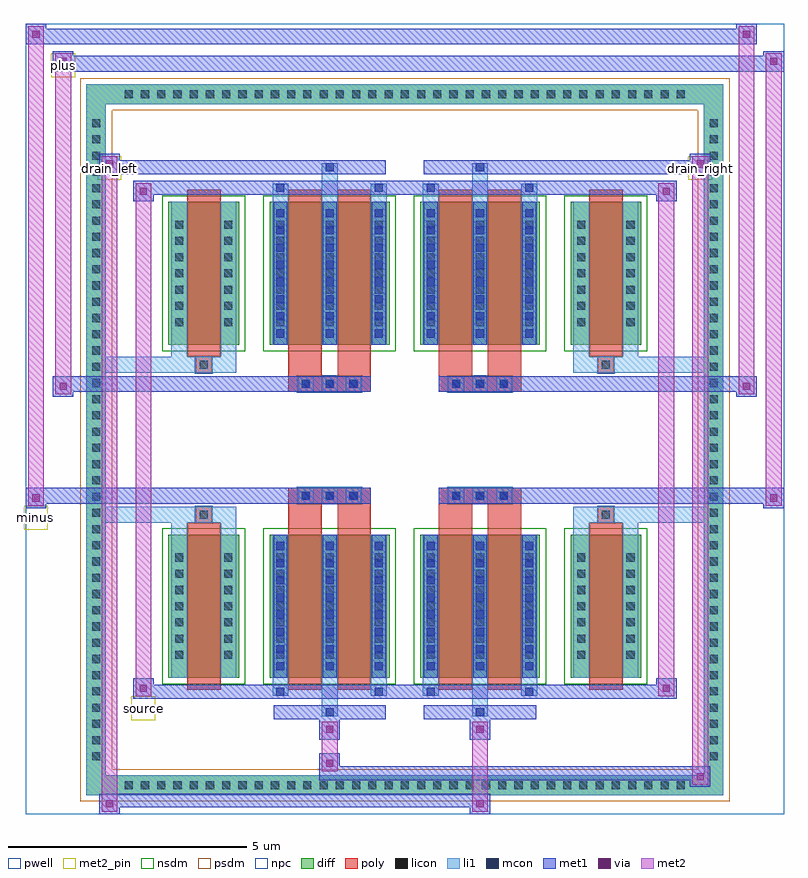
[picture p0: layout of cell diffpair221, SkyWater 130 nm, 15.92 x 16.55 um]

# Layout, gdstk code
import gdstk
lib = gdstk.Library(unit=1e-6, precision=5e-09)
def R(c, l, rs):  # rectangles x0, y0, x1, y1
    for r in rs: c.add(gdstk.rectangle(r[:2], r[2:], *l))
def A(c, l, x, y, w, h, nx, ny, dx, dy):  # array of equal rectangles
    R(c, l, [(x+i*dx, y+j*dy, x+i*dx+w, y+j*dy+h) for i in range(nx) for j in range(ny)])
def P(c, l, *ps):  # polygons
    for p in ps: c.add(gdstk.Polygon(p, *l))
pwell = (64, 44)
diff = (65, 20)
poly = (66, 20)
licon = (66, 44)
li1 = (67, 20)
mcon = (67, 44)
met1 = (68, 20)
via = (68, 44)
met2_pin = (69, 16)
met2 = (69, 20)
nsdm = (93, 44)
psdm = (94, 20)
npc = (95, 20)

diffpair221 = lib.new_cell('diffpair221')
R(diffpair221, pwell, [(-7.94,-7.84,7.94,8.71), (-5.26,-6.03,-0.01,-0.805), (0.01,-6.03,5.26,-0.805), (-5.26,0.805,-0.01,6.03), (0.01,0.805,5.26,6.03)])
A(diffpair221, diff, -5.985, -7.44, 0.41, 0.41, 35, 2, 0.34, 14.47)
A(diffpair221, diff, -6.67, -6.835, 0.41, 0.41, 1, 40, 0, 0.34)
A(diffpair221, diff, 6.26, -6.835, 0.41, 0.41, 1, 40, 0, 0.34)
R(diffpair221, diff, [(-5.985,-7.44,5.985,-7.03), (-6.67,-6.835,-6.26,6.835), (6.26,-6.835,6.67,6.835), (-4.95,-4.985,-3.47,-1.985), (-2.83,-4.985,-0.32,-1.985), (0.32,-4.985,2.83,-1.985), (3.47,-4.985,4.95,-1.985), (-4.95,1.985,-3.47,4.985), (-2.83,1.985,-0.32,4.985), (0.32,1.985,2.83,4.985), (3.47,1.985,4.95,4.985), (-5.985,7.03,5.985,7.44)])
P(diffpair221, diff, [(6.67,7.44),(-6.67,7.44),(-6.67,-7.03),(-6.26,-7.03),(-6.26,7.03),(6.26,7.03),(6.26,-7.03),(-6.26,-7.03),(-6.67,-7.03),(-6.67,-7.44),(6.67,-7.44)])
A(diffpair221, poly, -2.24, -1.335, 0.33, 0.33, 3, 2, 0.5, 2.34)
A(diffpair221, poly, 0.91, -1.335, 0.33, 0.33, 3, 2, 0.5, 2.34)
R(diffpair221, poly, [(-4.56,-5.235,-3.86,-1.735), (-2.44,-5.235,-1.74,-1.735), (-1.41,-5.235,-0.71,-1.735), (0.71,-5.235,1.41,-1.735), (1.74,-5.235,2.44,-1.735), (3.86,-5.235,4.56,-1.735), (-4.375,-1.735,-4.045,-1.405), (-4.375,-1.735,-4.045,-1.405), (-2.44,-1.735,-1.74,-1.335), (-1.41,-1.735,-0.71,-1.335), (0.71,-1.735,1.41,-1.335), (1.74,-1.735,2.44,-1.335), (4.045,-1.735,4.375,-1.405), (4.045,-1.735,4.375,-1.405), (-2.44,-1.335,-0.71,-1.005), (0.71,-1.335,2.44,-1.005), (-2.44,1.005,-0.71,1.335), (0.71,1.005,2.44,1.335), (-2.44,1.335,-1.74,1.735), (-1.41,1.335,-0.71,1.735), (0.71,1.335,1.41,1.735), (1.74,1.335,2.44,1.735), (-4.375,1.405,-4.045,1.735), (-4.375,1.405,-4.045,1.735), (4.045,1.405,4.375,1.735), (4.045,1.405,4.375,1.735), (-4.56,1.735,-3.86,5.235), (-2.44,1.735,-1.74,5.235), (-1.41,1.735,-0.71,5.235), (0.71,1.735,1.41,5.235), (1.74,1.735,2.44,5.235), (3.86,1.735,4.56,5.235)])
A(diffpair221, licon, -5.865, -7.32, 0.17, 0.17, 35, 2, 0.34, 14.47)
A(diffpair221, licon, -6.55, -6.715, 0.17, 0.17, 1, 40, 0, 0.34)
A(diffpair221, licon, 6.38, -6.715, 0.17, 0.17, 1, 40, 0, 0.34)
A(diffpair221, licon, -4.81, -4.59, 0.17, 0.17, 1, 7, 0, 0.34)
A(diffpair221, licon, -3.78, -4.59, 0.17, 0.17, 1, 7, 0, 0.34)
A(diffpair221, licon, -2.69, -4.59, 0.17, 0.17, 3, 7, 1.03, 0.34)
A(diffpair221, licon, 0.46, -4.59, 0.17, 0.17, 3, 7, 1.03, 0.34)
A(diffpair221, licon, 3.61, -4.59, 0.17, 0.17, 1, 7, 0, 0.34)
A(diffpair221, licon, 4.64, -4.59, 0.17, 0.17, 1, 7, 0, 0.34)
A(diffpair221, licon, -2.16, -1.255, 0.17, 0.17, 3, 2, 0.5, 2.34)
A(diffpair221, licon, 0.99, -1.255, 0.17, 0.17, 3, 2, 0.5, 2.34)
A(diffpair221, licon, -4.81, 2.38, 0.17, 0.17, 1, 7, 0, 0.34)
A(diffpair221, licon, -3.78, 2.38, 0.17, 0.17, 1, 7, 0, 0.34)
A(diffpair221, licon, -2.69, 2.38, 0.17, 0.17, 3, 7, 1.03, 0.34)
A(diffpair221, licon, 0.46, 2.38, 0.17, 0.17, 3, 7, 1.03, 0.34)
A(diffpair221, licon, 3.61, 2.38, 0.17, 0.17, 1, 7, 0, 0.34)
A(diffpair221, licon, 4.64, 2.38, 0.17, 0.17, 1, 7, 0, 0.34)
R(diffpair221, licon, [(-4.295,-1.655,-4.125,-1.485), (4.125,-1.655,4.295,-1.485), (-4.295,1.485,-4.125,1.655), (4.125,1.485,4.295,1.655)])
A(diffpair221, li1, -5.945, -7.4, 0.33, 0.33, 35, 2, 0.34, 14.47)
A(diffpair221, li1, -6.63, -6.795, 0.33, 0.33, 1, 40, 0, 0.34)
A(diffpair221, li1, 6.3, -6.795, 0.33, 0.33, 1, 40, 0, 0.34)
A(diffpair221, li1, -2.77, -4.985, 0.33, 3, 3, 2, 1.03, 6.97)
A(diffpair221, li1, 0.38, -4.985, 0.33, 3, 3, 2, 1.03, 6.97)
A(diffpair221, li1, -2.69, -4.83, 0.17, 0.17, 3, 8, 1.03, 0.36)
A(diffpair221, li1, -2.69, -4.83, 0.17, 2.69, 3, 2, 1.03, 6.97)
A(diffpair221, li1, 0.46, -4.83, 0.17, 0.17, 3, 8, 1.03, 0.36)
A(diffpair221, li1, 0.46, -4.83, 0.17, 2.69, 3, 2, 1.03, 6.97)
A(diffpair221, li1, -4.89, -4.67, 0.33, 0.33, 1, 7, 0, 0.34)
A(diffpair221, li1, -3.86, -4.67, 0.33, 0.33, 1, 7, 0, 0.34)
A(diffpair221, li1, -2.77, -4.67, 0.33, 0.33, 3, 7, 1.03, 0.34)
A(diffpair221, li1, 0.38, -4.67, 0.33, 0.33, 3, 7, 1.03, 0.34)
A(diffpair221, li1, 3.53, -4.67, 0.33, 0.33, 1, 7, 0, 0.34)
A(diffpair221, li1, 4.56, -4.67, 0.33, 0.33, 1, 7, 0, 0.34)
A(diffpair221, li1, -2.24, -1.335, 0.33, 0.33, 3, 2, 0.5, 2.34)
A(diffpair221, li1, 0.91, -1.335, 0.33, 0.33, 3, 2, 0.5, 2.34)
A(diffpair221, li1, -2.69, 2.14, 0.17, 0.17, 3, 8, 1.03, 0.36)
A(diffpair221, li1, 0.46, 2.14, 0.17, 0.17, 3, 8, 1.03, 0.36)
A(diffpair221, li1, -4.89, 2.3, 0.33, 0.33, 1, 7, 0, 0.34)
A(diffpair221, li1, -3.86, 2.3, 0.33, 0.33, 1, 7, 0, 0.34)
A(diffpair221, li1, -2.77, 2.3, 0.33, 0.33, 3, 7, 1.03, 0.34)
A(diffpair221, li1, 0.38, 2.3, 0.33, 0.33, 3, 7, 1.03, 0.34)
A(diffpair221, li1, 3.53, 2.3, 0.33, 0.33, 1, 7, 0, 0.34)
A(diffpair221, li1, 4.56, 2.3, 0.33, 0.33, 1, 7, 0, 0.34)
R(diffpair221, li1, [(-6.67,-7.44,-6.26,-7.03), (-6.67,-7.44,-6.26,-7.03), (-6.26,-7.44,6.26,-7.03), (6.26,-7.44,6.67,-7.03), (6.26,-7.44,6.67,-7.03), (-6.67,-7.03,-6.26,7.03), (6.26,-7.03,6.67,7.03), (-1.74,-5.79,-1.41,-4.985), (-1.66,-5.79,-1.49,-5.62), (1.41,-5.79,1.74,-4.985), (1.49,-5.79,1.66,-5.62), (-2.77,-5.36,-2.44,-4.985), (-2.69,-5.36,-2.52,-5.19), (-0.71,-5.36,-0.38,-4.985), (-0.63,-5.36,-0.46,-5.19), (0.38,-5.36,0.71,-4.985), (0.46,-5.36,0.63,-5.19), (2.44,-5.36,2.77,-4.985), (2.52,-5.36,2.69,-5.19), (-4.89,-4.985,-4.56,-1.985), (-3.86,-4.985,-3.53,-1.985), (3.53,-4.985,3.86,-1.985), (4.56,-4.985,4.89,-1.985), (-4.89,-1.985,-4.56,-1.405), (-3.86,-1.985,-3.53,-1.405), (3.53,-1.985,3.86,-1.405), (4.56,-1.985,4.89,-1.405), (-6.67,-1.735,-4.375,-1.405), (-4.89,-1.735,-4.375,-1.405), (-4.375,-1.735,-4.045,-1.405), (-4.045,-1.735,-3.53,-1.405), (3.53,-1.735,4.045,-1.405), (4.045,-1.735,4.375,-1.405), (4.045,-1.735,6.67,-1.405), (4.375,-1.735,4.89,-1.405), (-6.67,1.405,-4.375,1.735), (-4.89,1.405,-4.375,1.735), (-4.89,1.405,-4.56,1.985), (-4.375,1.405,-4.045,1.735), (-4.045,1.405,-3.53,1.735), (-3.86,1.405,-3.53,1.985), (3.53,1.405,4.045,1.735), (3.53,1.405,3.86,1.985), (4.045,1.405,4.375,1.735), (4.045,1.405,6.67,1.735), (4.375,1.405,4.89,1.735), (4.56,1.405,4.89,1.985), (-4.89,1.985,-4.56,4.985), (-3.86,1.985,-3.53,4.985), (3.53,1.985,3.86,4.985), (4.56,1.985,4.89,4.985), (-2.77,4.985,-2.44,5.36), (-1.74,4.985,-1.41,5.79), (-0.71,4.985,-0.38,5.36), (0.38,4.985,0.71,5.36), (1.41,4.985,1.74,5.79), (2.44,4.985,2.77,5.36), (-2.69,5.19,-2.52,5.36), (-0.63,5.19,-0.46,5.36), (0.46,5.19,0.63,5.36), (2.52,5.19,2.69,5.36), (-1.66,5.62,-1.49,5.79), (1.49,5.62,1.66,5.79), (-6.67,7.03,-6.26,7.44), (-6.67,7.03,-6.26,7.44), (-6.26,7.03,6.26,7.44), (6.26,7.03,6.67,7.44), (6.26,7.03,6.67,7.44)])
A(diffpair221, mcon, -2.69, -4.83, 0.17, 0.17, 3, 8, 1.03, 0.36)
A(diffpair221, mcon, 0.46, -4.83, 0.17, 0.17, 3, 8, 1.03, 0.36)
A(diffpair221, mcon, -2.16, -1.255, 0.17, 0.17, 3, 2, 0.5, 2.34)
A(diffpair221, mcon, 0.99, -1.255, 0.17, 0.17, 3, 2, 0.5, 2.34)
A(diffpair221, mcon, -2.69, 2.14, 0.17, 0.17, 3, 8, 1.03, 0.36)
A(diffpair221, mcon, 0.46, 2.14, 0.17, 0.17, 3, 8, 1.03, 0.36)
R(diffpair221, mcon, [(-1.66,-5.79,-1.49,-5.62), (1.49,-5.79,1.66,-5.62), (-2.69,-5.36,-2.52,-5.19), (-0.63,-5.36,-0.46,-5.19), (0.46,-5.36,0.63,-5.19), (2.52,-5.36,2.69,-5.19), (-2.69,5.19,-2.52,5.36), (-0.63,5.19,-0.46,5.36), (0.46,5.19,0.63,5.36), (2.52,5.19,2.69,5.36), (-1.66,5.62,-1.49,5.79), (1.49,5.62,1.66,5.79)])
A(diffpair221, met1, -2.75, -4.985, 0.29, 3, 3, 2, 1.03, 6.97)
A(diffpair221, met1, 0.4, -4.985, 0.29, 3, 3, 2, 1.03, 6.97)
A(diffpair221, met1, -2.75, -4.89, 0.29, 0.29, 3, 8, 1.03, 0.36)
A(diffpair221, met1, 0.4, -4.89, 0.29, 0.29, 3, 8, 1.03, 0.36)
A(diffpair221, met1, -2.22, -1.315, 0.29, 0.29, 3, 2, 0.5, 2.34)
A(diffpair221, met1, 0.93, -1.315, 0.29, 0.29, 3, 2, 0.5, 2.34)
A(diffpair221, met1, -2.75, 2.08, 0.29, 0.29, 3, 8, 1.03, 0.36)
A(diffpair221, met1, 0.4, 2.08, 0.29, 0.29, 3, 8, 1.03, 0.36)
R(diffpair221, met1, [(-6.4,-7.84,-5.97,-7.41), (1.36,-7.84,1.79,-7.41), (-6.4,-7.7,1.79,-7.41), (5.97,-7.27,6.4,-6.84), (-1.79,-7.13,6.4,-6.84), (-1.79,-6.99,-1.36,-6.56), (-1.79,-6.28,-1.36,-5.85), (1.36,-6.28,1.79,-5.85), (-2.75,-5.85,-0.4,-5.56), (-1.72,-5.85,-1.43,-5.56), (0.4,-5.85,2.75,-5.56), (1.43,-5.85,1.72,-5.56), (-5.69,-5.42,-5.26,-4.99), (-5.69,-5.42,-2.75,-5.13), (-2.75,-5.42,-2.46,-5.13), (-2.75,-5.42,-0.4,-5.13), (-0.69,-5.42,-0.4,-5.13), (-0.4,-5.42,0.4,-5.13), (0.4,-5.42,0.69,-5.13), (0.4,-5.42,2.75,-5.13), (2.46,-5.42,2.75,-5.13), (2.75,-5.42,5.69,-5.13), (5.26,-5.42,5.69,-4.99), (-7.94,-1.435,-7.51,-1.005), (7.51,-1.435,7.94,-1.005), (-7.94,-1.335,-0.71,-1.005), (-2.44,-1.335,-0.71,-1.005), (0.71,-1.335,2.44,-1.005), (0.71,-1.335,7.94,-1.005), (-7.37,0.905,-6.94,1.335), (6.94,0.905,7.37,1.335), (-7.37,1.005,-2.44,1.335), (-2.44,1.005,-0.71,1.335), (0.71,1.005,2.44,1.335), (2.44,1.005,7.37,1.335), (-5.69,4.99,-5.26,5.42), (5.26,4.99,5.69,5.42), (-5.69,5.13,-2.75,5.42), (-2.75,5.13,-2.46,5.42), (-2.75,5.13,-0.4,5.42), (-0.69,5.13,-0.4,5.42), (-0.4,5.13,0.4,5.42), (0.4,5.13,0.69,5.42), (0.4,5.13,2.75,5.42), (2.46,5.13,2.75,5.42), (2.75,5.13,5.69,5.42), (-6.4,5.56,-5.97,5.99), (-6.4,5.56,-2.75,5.85), (-2.75,5.56,-0.4,5.85), (-1.72,5.56,-1.43,5.85), (0.4,5.56,2.75,5.85), (1.43,5.56,1.72,5.85), (2.75,5.56,6.4,5.85), (5.97,5.56,6.4,5.99), (-7.37,7.71,-6.94,8.14), (-7.37,7.71,-5.26,8.04), (-5.26,7.71,5.26,8.04), (5.26,7.71,7.94,8.04), (7.51,7.71,7.94,8.14), (-7.94,8.28,-7.51,8.71), (-7.94,8.28,-5.26,8.61), (-5.26,8.28,5.26,8.61), (5.26,8.28,7.37,8.61), (6.94,8.28,7.37,8.71)])
R(diffpair221, via, [(-6.26,-7.7,-6.11,-7.55), (1.5,-7.7,1.65,-7.55), (6.11,-7.13,6.26,-6.98), (-1.65,-6.85,-1.5,-6.7), (-1.65,-6.14,-1.5,-5.99), (1.5,-6.14,1.65,-5.99), (-5.55,-5.28,-5.4,-5.13), (5.4,-5.28,5.55,-5.13), (-7.8,-1.295,-7.65,-1.145), (7.65,-1.295,7.8,-1.145), (-7.23,1.045,-7.08,1.195), (7.08,1.045,7.23,1.195), (-5.55,5.13,-5.4,5.28), (5.4,5.13,5.55,5.28), (-6.26,5.7,-6.11,5.85), (6.11,5.7,6.26,5.85), (-7.23,7.85,-7.08,8), (7.65,7.85,7.8,8), (-7.8,8.42,-7.65,8.57), (7.08,8.42,7.23,8.57)])
R(diffpair221, met2_pin, [(-5.725,-5.87,-5.225,-5.37), (-7.975,-1.885,-7.475,-1.385), (-6.435,5.44,-5.935,5.94), (5.935,5.44,6.435,5.94), (-7.405,7.59,-6.905,8.09)])
R(diffpair221, met2, [(-6.35,-7.79,-6.02,-7.46), (-6.35,-7.79,-6.02,5.94), (1.41,-7.79,1.74,-7.46), (1.41,-7.46,1.74,-6.23), (6.02,-7.22,6.35,-6.89), (6.02,-7.22,6.35,5.94), (-1.74,-6.94,-1.41,-6.61), (-1.74,-6.61,-1.41,-6.23), (-1.74,-6.23,-1.41,-5.9), (1.41,-6.23,1.74,-5.9), (-5.64,-5.37,-5.31,-5.04), (-5.64,-5.37,-5.31,5.37), (5.31,-5.37,5.64,-5.04), (5.31,-5.37,5.64,5.37), (-7.89,-1.385,-7.56,-1.055), (-7.89,-1.385,-7.56,8.66), (7.56,-1.385,7.89,-1.055), (7.56,-1.385,7.89,8.09), (-7.32,0.955,-6.99,1.285), (-7.32,0.955,-6.99,8.09), (6.99,0.955,7.32,1.285), (6.99,0.955,7.32,8.66), (-5.64,5.04,-5.31,5.37), (5.31,5.04,5.64,5.37), (-6.35,5.61,-6.02,5.94), (6.02,5.61,6.35,5.94), (-7.32,7.76,-6.99,8.09), (7.56,7.76,7.89,8.09), (-7.89,8.33,-7.56,8.66), (6.99,8.33,7.32,8.66)])
P(diffpair221, met2, [(7.89,-1.385),(7.89,-1.385),(7.89,-1.055),(7.89,-1.055)],
  [(7.89,7.76),(7.89,7.76),(7.89,8.09),(7.89,8.09)],
  [(-7.56,-1.385),(-7.56,-1.385),(-7.56,-1.055),(-7.56,-1.055)],
  [(-7.56,8.33),(-7.56,8.33),(-7.56,8.66),(-7.56,8.66)],
  [(7.32,0.955),(7.32,0.955),(7.32,1.285),(7.32,1.285)],
  [(7.32,8.33),(7.32,8.33),(7.32,8.66),(7.32,8.66)],
  [(-6.99,0.955),(-6.99,0.955),(-6.99,1.285),(-6.99,1.285)],
  [(-6.99,7.76),(-6.99,7.76),(-6.99,8.09),(-6.99,8.09)],
  [(-6.02,-7.79),(-6.02,-7.79),(-6.02,-7.46),(-6.02,-7.46)],
  [(-6.02,5.61),(-6.02,5.61),(-6.02,5.94),(-6.02,5.94)],
  [(6.35,-7.22),(6.35,-7.22),(6.35,-6.89),(6.35,-6.89)],
  [(6.35,5.61),(6.35,5.61),(6.35,5.94),(6.35,5.94)],
  [(-5.31,-5.37),(-5.31,-5.37),(-5.31,-5.04),(-5.31,-5.04)],
  [(-5.31,5.04),(-5.31,5.04),(-5.31,5.37),(-5.31,5.37)],
  [(5.64,-5.37),(5.64,-5.37),(5.64,-5.04),(5.64,-5.04)],
  [(5.64,5.04),(5.64,5.04),(5.64,5.37),(5.64,5.37)])
R(diffpair221, nsdm, [(-5.08,-5.115,-3.34,-1.855), (-2.96,-5.115,-0.19,-1.855), (0.19,-5.115,2.96,-1.855), (3.34,-5.115,5.08,-1.855), (-5.08,1.855,-3.34,5.115), (-2.96,1.855,-0.19,5.115), (0.19,1.855,2.96,5.115), (3.34,1.855,5.08,5.115)])
P(diffpair221, psdm, [(6.8,7.57),(-6.8,7.57),(-6.8,-6.9),(-6.13,-6.9),(-6.13,6.9),(6.13,6.9),(6.13,-6.9),(-6.13,-6.9),(-6.8,-6.9),(-6.8,-7.57),(6.8,-7.57)])
A(diffpair221, npc, -2.26, -1.355, 0.37, 0.37, 3, 2, 0.5, 2.34)
A(diffpair221, npc, 0.89, -1.355, 0.37, 0.37, 3, 2, 0.5, 2.34)
R(diffpair221, npc, [(-4.395,-1.755,-4.025,-1.385), (4.025,-1.755,4.395,-1.385), (-2.26,-1.355,-1.39,-0.985), (-2.26,-1.355,-1.39,-0.985), (-1.76,-1.355,-0.89,-0.985), (-1.76,-1.355,-0.89,-0.985), (0.89,-1.355,1.76,-0.985), (0.89,-1.355,1.76,-0.985), (1.39,-1.355,2.26,-0.985), (1.39,-1.355,2.26,-0.985), (-2.26,0.985,-1.39,1.355), (-2.26,0.985,-1.39,1.355), (-1.76,0.985,-0.89,1.355), (-1.76,0.985,-0.89,1.355), (0.89,0.985,1.76,1.355), (0.89,0.985,1.76,1.355), (1.39,0.985,2.26,1.355), (1.39,0.985,2.26,1.355), (-4.395,1.385,-4.025,1.755), (4.025,1.385,4.395,1.755)])
diffpair221.add(gdstk.Label('minus', (-7.725,-1.635), layer=69, texttype=5))
diffpair221.add(gdstk.Label('drain_right', (6.185,5.69), layer=69, texttype=5))
diffpair221.add(gdstk.Label('drain_left', (-6.185,5.69), layer=69, texttype=5))
diffpair221.add(gdstk.Label('source', (-5.475,-5.62), layer=69, texttype=5))
diffpair221.add(gdstk.Label('plus', (-7.155,7.84), layer=69, texttype=5))

lib.write_gds('diffpair221.gds')
